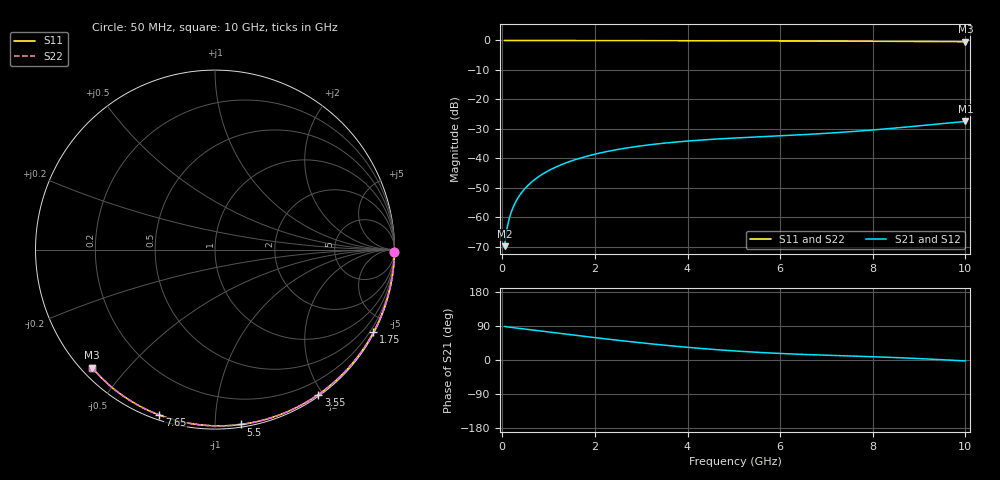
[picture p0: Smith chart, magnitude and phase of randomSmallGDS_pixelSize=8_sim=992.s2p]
! freq	dB(S11)	phase(S11)	dB(S12)	phase(S12)
!  dB(S21)	phase(S21)	dB(S22)	phase(S22)
!S-par simulation data
#  GHz  S  DB  R 50
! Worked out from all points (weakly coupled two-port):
!   200 points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, 50 MHz to 10 GHz, reference 50 ohm
!   highest |S21| = -27.44 dB at 10 GHz (marker M1); lowest = -69.7 dB at 50 MHz (marker M2)
!   lowest |S11| = -0.5 dB at 10 GHz (marker M3), VSWR 38.55, Z = 1.51 - j20.1 ohm
!   |S11| at or under -10 dB: nowhere
!   |S22| runs from -0.5 to 0.0 dB; largest |S21 - S12| = 0
!   S11 on the Smith chart (normalised r, x): 50 MHz: open; 1.75 GHz: 0.04, -4.08; 3.55 GHz: 0.02, -1.94; 5.5 GHz: 0.02, -1.16; 7.65 GHz: 0.02, -0.72; 10 GHz: 0.03, -0.40
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0.05  -0.00 -0.8  -69.73 88.6  -69.73 88.6  -0.00 -0.8
0.1  -0.00 -1.6  -63.78 87.5  -63.78 87.5  -0.00 -1.6
0.15  -0.00 -2.4  -60.32 86.6  -60.32 86.6  -0.00 -2.4
0.2  -0.00 -3.2  -57.87 85.9  -57.87 85.9  -0.00 -3.2
0.25  -0.00 -4.0  -55.96 85.2  -55.96 85.2  -0.00 -4.0
0.35  -0.00 -5.6  -53.07 83.8  -53.07 83.8  -0.00 -5.6
0.5  -0.01 -8.0  -50.01 81.6  -50.01 81.6  -0.01 -8.0
0.7  -0.01 -11.2  -47.14 78.6  -47.14 78.6  -0.01 -11.2
1  -0.02 -15.9  -44.12 74.0  -44.12 74.0  -0.02 -15.9
1.35  -0.03 -21.4  -41.64 68.7  -41.64 68.7  -0.03 -21.4
1.75  -0.03 -27.6  -39.57 62.7  -39.57 62.7  -0.03 -27.6
2.5  -0.05 -39.0  -36.93 52.0  -36.93 52.0  -0.05 -39.0
3.4  -0.07 -52.3  -34.97 40.3  -34.97 40.3  -0.07 -52.3
3.55  -0.07 -54.5  -34.73 38.5  -34.73 38.5  -0.07 -54.5
4.3  -0.09 -65.2  -33.75 30.4  -33.75 30.4  -0.09 -65.2
5.05  -0.12 -75.5  -33.05 23.6  -33.05 23.6  -0.12 -75.5
5.5  -0.13 -81.5  -32.70 20.3  -32.70 20.3  -0.13 -81.5
6.7  -0.19 -96.9  -31.75 13.8  -31.75 13.8  -0.19 -96.9
7.65  -0.24 -108.6  -30.77 10.1  -30.77 10.1  -0.24 -108.6
8.35  -0.29 -117.0  -29.88 7.1  -29.88 7.1  -0.29 -117.0
9.2  -0.37 -126.9  -28.65 2.6  -28.65 2.6  -0.37 -126.9
10  -0.45 -136.2  -27.44 -2.5  -27.44 -2.5  -0.45 -136.2
